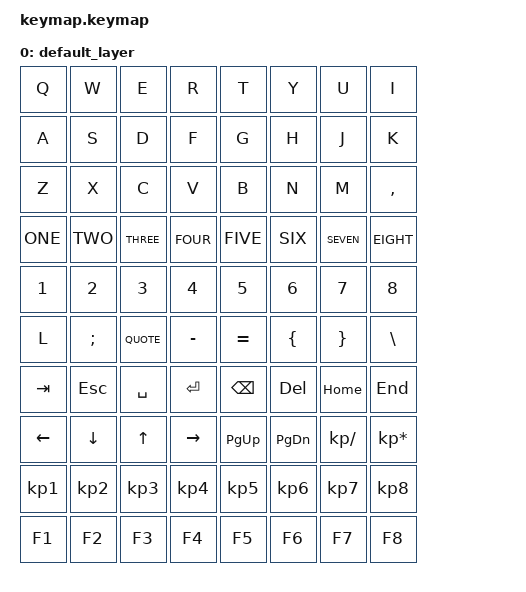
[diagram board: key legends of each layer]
/ {
    keymap {
        compatible = "zmk,keymap";

        // 10 rows × 8 columns = 80 bindings, ordered row-major (R0C0..R9C7)
        default_layer {
            bindings = <
                /* R0 */ &kp Q  &kp W  &kp E  &kp R  &kp T  &kp Y  &kp U  &kp I
                /* R1 */ &kp A  &kp S  &kp D  &kp F  &kp G  &kp H  &kp J  &kp K
                /* R2 */ &kp Z  &kp X  &kp C  &kp V  &kp B  &kp N  &kp M  &kp COMMA
                /* R3 */ &kp ONE  &kp TWO  &kp THREE  &kp FOUR  &kp FIVE  &kp SIX  &kp SEVEN  &kp EIGHT
                /* R4 */ &kp N1  &kp N2  &kp N3  &kp N4  &kp N5  &kp N6  &kp N7  &kp N8
                /* R5 */ &kp L  &kp SEMI  &kp QUOTE  &kp MINUS  &kp EQUAL  &kp LEFT_BRACE  &kp RIGHT_BRACE  &kp BACKSLASH
                /* R6 */ &kp TAB  &kp ESC  &kp SPACE  &kp ENTER  &kp BACKSPACE  &kp DELETE  &kp HOME  &kp END
                /* R7 */ &kp LEFT  &kp DOWN  &kp UP  &kp RIGHT  &kp PG_UP  &kp PG_DN  &kp KP_DIVIDE  &kp KP_MULTIPLY
                /* R8 */ &kp KP_1  &kp KP_2  &kp KP_3  &kp KP_4  &kp KP_5  &kp KP_6  &kp KP_7  &kp KP_8
                /* R9 */ &kp F1  &kp F2  &kp F3  &kp F4  &kp F5  &kp F6  &kp F7  &kp F8
            >;
        };
    };
};
